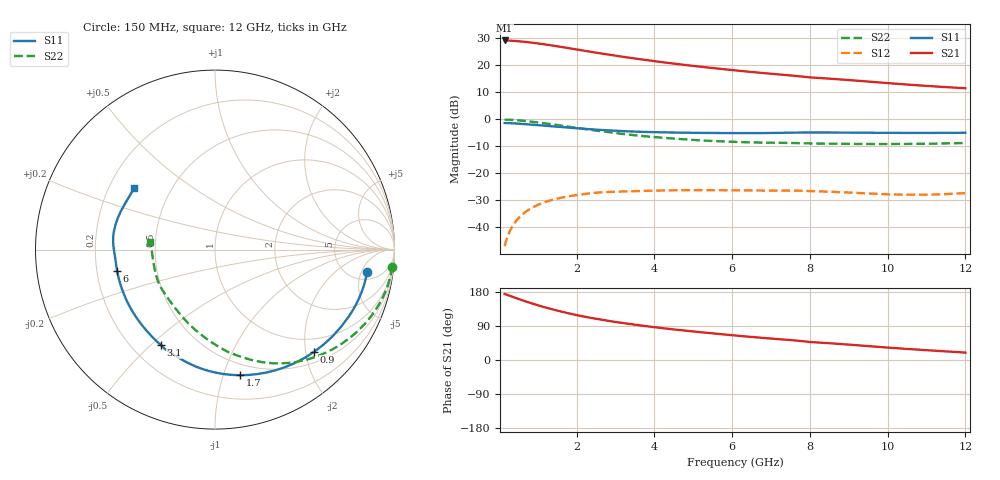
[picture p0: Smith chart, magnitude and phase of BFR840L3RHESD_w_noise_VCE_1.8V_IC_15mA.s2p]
! Infineon Technologies  Discrete & RF Semiconductors
! BFR840L3RHESD
! VCE =  1.8 V,  IC =  15 mA
! Common Emitter S-Parameters:  Jun 2012
# GHz  S  MA  R  50
!  f  S11  S21  S12  S22
! GHz  MAG  ANG  MAG  ANG  MAG  ANG  MAG  ANG
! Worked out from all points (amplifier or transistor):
!   91 points, 150 MHz to 12 GHz, reference 50 ohm
!   highest |S21| = 29.2 dB at 150 MHz (marker M1)
!   |S21| within 3 dB of that: start of sweep to 1.863 GHz
!   unconditionally stable (mu >= 1): 7.858 GHz to end of sweep
!   at 1.3 GHz: K = 0.16, MSG = 28.8 dB, |S12| = -30.1 dB
!   at 4.3 GHz: K = 0.50, MSG = 23.6 dB, |S12| = -26.3 dB
!   at 12 GHz: K = 1.90, MAG = 14.0 dB, |S12| = -27.3 dB
!   lowest NFmin = 0.91 dB at 450 MHz
!   S11 on the Smith chart (normalised r, x): 150 MHz: 6.99, -6.40; 900 MHz: 0.71, -2.17; 1.7 GHz: 0.40, -1.14; 3.1 GHz: 0.32, -0.54; 6 GHz: 0.29, -0.10; 12 GHz: 0.31, +0.31
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0.15  0.8562 -8.2  28.92 174.3  0.0045 79.2  0.9907 -5.5
0.35  0.8469 -18.8  28.5 166.9  0.0105 75.9  0.9781 -13.8
0.6  0.8238 -31.5  27.55 157.8  0.0173 72.0  0.9454 -23.2
0.7  0.8137 -36.5  27.09 154.3  0.0197 69.4  0.9297 -26.8
0.9  0.7933 -45.9  26.07 147.8  0.024 63.7  0.8961 -33.6
1.1  0.7729 -54.8  24.95 141.6  0.0279 58.4  0.8606 -40.0
1.3  0.7526 -63.2  23.77 135.9  0.0313 54.0  0.8242 -46.0
1.5  0.7326 -71.2  22.57 130.5  0.0342 50.5  0.7875 -51.8
1.7  0.7133 -78.8  21.4 125.5  0.0366 47.3  0.7511 -57.2
2  0.6862 -89.4  19.72 118.6  0.0397 42.5  0.6985 -64.7
2.2  0.6695 -95.8  18.66 114.5  0.0415 39.4  0.6653 -69.2
2.6  0.6397 -107.0  16.75 107.2  0.0445 35.1  0.6069 -77.5
3.1  0.6112 -119.7  14.75 98.9  0.0461 30.0  0.5473 -86.9
3.6  0.5907 -130.4  13.1 91.8  0.0472 26.6  0.5004 -95.2
4.2  0.5763 -141.4  11.48 84.2  0.0483 23.6  0.4584 -104.3
5.1  0.5637 -155.7  9.599 74.3  0.049 20.1  0.4128 -117.1
6  0.5581 -167.5  8.196 65.4  0.0488 17.7  0.3847 -128.9
6.1  0.5578 -168.7  8.06 64.5  0.0487 17.4  0.3826 -130.2
8  0.5723 170.0  5.989 47.5  0.0471 14.3  0.3592 -155.0
8.5  0.5715 166.0  5.68 44.3  0.0459 13.8  0.3553 -159.5
10.5  0.5619 150.7  4.416 29.2  0.0403 19.6  0.3514 -177.6
12  0.566 143.0  3.77 19.6  0.0432 29.3  0.3657 173.1
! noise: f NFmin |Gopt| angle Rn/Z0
0.45  0.91  0.14  10  0.14
0.9  0.94  0.14  16  0.14
1.9  0.97  0.16  37  0.14
3.5  0.96  0.17  60  0.13
4  0.97  0.19  68  0.13
5.5  0.99  0.22  83  0.13
7  1.04  0.22  105  0.12
8  1.1  0.23  116  0.12
10  1.19  0.22  135  0.11
12  1.3  0.23  170  0.11
